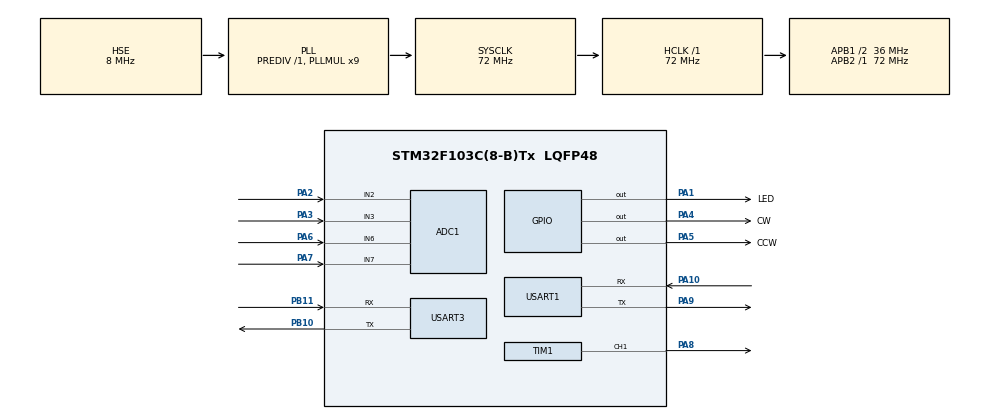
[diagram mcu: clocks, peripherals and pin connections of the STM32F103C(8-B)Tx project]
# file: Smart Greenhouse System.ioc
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ADC1.Channel-1\#ChannelRegularConversion=ADC_CHANNEL_2
ADC1.Channel-2\#ChannelRegularConversion=ADC_CHANNEL_2
ADC1.Channel-3\#ChannelRegularConversion=ADC_CHANNEL_2
ADC1.Channel-4\#ChannelRegularConversion=ADC_CHANNEL_2
ADC1.ContinuousConvMode=DISABLE
ADC1.DiscontinuousConvMode=DISABLE
ADC1.NbrOfConversion=4
ADC1.NbrOfConversionFlag=1
ADC1.Rank-1\#ChannelRegularConversion=1
ADC1.Rank-2\#ChannelRegularConversion=2
ADC1.Rank-3\#ChannelRegularConversion=3
ADC1.Rank-4\#ChannelRegularConversion=4
ADC1.SamplingTime-1\#ChannelRegularConversion=ADC_SAMPLETIME_1CYCLE_5
ADC1.SamplingTime-2\#ChannelRegularConversion=ADC_SAMPLETIME_1CYCLE_5
ADC1.SamplingTime-3\#ChannelRegularConversion=ADC_SAMPLETIME_1CYCLE_5
ADC1.SamplingTime-4\#ChannelRegularConversion=ADC_SAMPLETIME_1CYCLE_5
ADC1.master=1
Dma.ADC1.0.Direction=DMA_PERIPH_TO_MEMORY
Dma.ADC1.0.Instance=DMA1_Channel1
Dma.ADC1.0.MemDataAlignment=DMA_MDATAALIGN_HALFWORD
Dma.ADC1.0.MemInc=DMA_MINC_ENABLE
Dma.ADC1.0.Mode=DMA_NORMAL
Dma.ADC1.0.PeriphDataAlignment=DMA_PDATAALIGN_HALFWORD
Dma.ADC1.0.PeriphInc=DMA_PINC_DISABLE
Dma.ADC1.0.Priority=DMA_PRIORITY_LOW
Dma.Request0=ADC1
Dma.Request1=USART1_TX
Dma.USART1_TX.1.Direction=DMA_MEMORY_TO_PERIPH
Dma.USART1_TX.1.Instance=DMA1_Channel4
Dma.USART1_TX.1.MemDataAlignment=DMA_MDATAALIGN_BYTE
Dma.USART1_TX.1.MemInc=DMA_MINC_ENABLE
Dma.USART1_TX.1.Mode=DMA_NORMAL
Dma.USART1_TX.1.PeriphDataAlignment=DMA_PDATAALIGN_BYTE
Dma.USART1_TX.1.PeriphInc=DMA_PINC_DISABLE
Dma.USART1_TX.1.Priority=DMA_PRIORITY_LOW
FREERTOS.Mutexes01=UartMutex,Dynamic,NULL,Available
FREERTOS.Queues01=CmdQueue,16,SensorData,0,Dynamic,NULL,NULL;DataQueue,16,SensorData,0,Dynamic,NULL,NULL;UartQueue,20,uint8_t,0,Dynamic,NULL,NULL
FREERTOS.Tasks01=ReceiveTask,44,128,TASK_PRIORITY_RECEIVE,Default,NULL,Dynamic,NULL,NULL;SendTask,41,128,TASK_PRIORITY_send,Default,NULL,Dynamic,NULL,NULL;ControlTask,43,128,TASK_PRIORITY_CONTROL,Default,NULL,Dynamic,NULL,NULL;AcquisitionTask,42,128,TASK_PRIORITY_ACQUISITION,Default,NULL,Dynamic,NULL,NULL
Mcu.Family=STM32F1
Mcu.Name=STM32F103C(8-B)Tx
Mcu.Package=LQFP48
NVIC.DMA1_Channel1_IRQn=true\:5\:0\:false\:false\:true\:true\:false\:true\:true
NVIC.DMA1_Channel4_IRQn=true\:5\:0\:false\:false\:true\:true\:false\:true\:true
NVIC.PriorityGroup=NVIC_PRIORITYGROUP_4
NVIC.TIM4_IRQn=true\:15\:0\:false\:false\:true\:false\:false\:true\:true
NVIC.TimeBase=TIM4_IRQn
NVIC.TimeBaseIP=TIM4
NVIC.USART1_IRQn=true\:5\:0\:false\:false\:true\:true\:true\:true\:true
NVIC.USART3_IRQn=true\:5\:0\:false\:false\:true\:true\:true\:true\:true
PA1.GPIO_Label=LED
PA1.GPIO_Speed=GPIO_SPEED_FREQ_HIGH
PA1.PinState=GPIO_PIN_SET
PA1.Signal=GPIO_Output
PA10.Mode=Asynchronous
PA10.Signal=USART1_RX
PA13.Mode=Serial_Wire
PA13.Signal=SYS_JTMS-SWDIO
PA14.Mode=Serial_Wire
PA14.Signal=SYS_JTCK-SWCLK
PA2.Signal=ADCx_IN2
PA3.Signal=ADCx_IN3
PA4.GPIO_Label=CW
PA4.GPIO_Speed=GPIO_SPEED_FREQ_HIGH
PA4.Signal=GPIO_Output
PA5.GPIO_Label=CCW
PA5.GPIO_Speed=GPIO_SPEED_FREQ_HIGH
PA5.Signal=GPIO_Output
PA6.Signal=ADCx_IN6
PA7.Signal=ADCx_IN7
PA8.Signal=S_TIM1_CH1
PA9.Mode=Asynchronous
PA9.Signal=USART1_TX
PB10.Mode=Asynchronous
PB10.Signal=USART3_TX
PB11.Mode=Asynchronous
PB11.Signal=USART3_RX
PD0-OSC_IN.Mode=HSE-External-Oscillator
PD0-OSC_IN.Signal=RCC_OSC_IN
PD1-OSC_OUT.Mode=HSE-External-Oscillator
PD1-OSC_OUT.Signal=RCC_OSC_OUT
ProjectManager.HeapSize=0x200
ProjectManager.StackSize=0x400
ProjectManager.TargetToolchain=MDK-ARM V5.32
RCC.ADCPresc=RCC_ADCPCLK2_DIV6
RCC.AHBFreq_Value=72000000
RCC.APB1CLKDivider=RCC_HCLK_DIV2
RCC.APB1Freq_Value=36000000
RCC.APB1TimFreq_Value=72000000
RCC.APB2Freq_Value=72000000
RCC.APB2TimFreq_Value=72000000
RCC.HCLKFreq_Value=72000000
RCC.PLLMUL=RCC_PLL_MUL9
RCC.PLLSourceVirtual=RCC_PLLSOURCE_HSE
RCC.SYSCLKFreq_VALUE=72000000
RCC.SYSCLKSource=RCC_SYSCLKSOURCE_PLLCLK
RCC.USBFreq_Value=72000000
SH.ADCx_IN2.0=ADC1_IN2,IN2
SH.ADCx_IN3.0=ADC1_IN3,IN3
SH.ADCx_IN6.0=ADC1_IN6,IN6
SH.ADCx_IN7.0=ADC1_IN7,IN7
SH.S_TIM1_CH1.0=TIM1_CH1,PWM Generation1 CH1
TIM1.Channel-PWM\ Generation1\ CH1=TIM_CHANNEL_1
TIM1.Period=100-1
TIM1.Prescaler=71
USART1.VirtualMode=VM_ASYNC
USART3.VirtualMode=VM_ASYNC
VP_FREERTOS_VS_CMSIS_V2.Mode=CMSIS_V2
VP_SYS_VS_tim4.Mode=TIM4
VP_TIM1_VS_ClockSourceINT.Mode=Internal
board=custom

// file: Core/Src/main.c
/* USER CODE BEGIN Header */
/**
  ******************************************************************************
  * @file           : main.c
  * @brief          : Main program body
  ******************************************************************************
  * @attention
  *
  * Copyright (c) 2026 STMicroelectronics.
  * All rights reserved.
  *
  * This software is licensed under terms that can be found in the LICENSE file
  * in the root directory of this software component.
  * If no LICENSE file comes with this software, it is provided AS-IS.
  *
  ******************************************************************************
  */
/* USER CODE END Header */
#include "main.h"
#include "cmsis_os.h"
#include "adc.h"
#include "dma.h"
#include "tim.h"
#include "usart.h"
#include "gpio.h"

void SystemClock_Config(void);
void MX_FREERTOS_Init(void);

int main(void)
{

  /* MCU Configuration--------------------------------------------------------*/

  /* Reset of all peripherals, Initializes the Flash interface and the Systick. */
  HAL_Init();

  /* Configure the system clock */
  SystemClock_Config();

  /* Initialize all configured peripherals */
  MX_GPIO_Init();
  MX_DMA_Init();
  MX_USART1_UART_Init();
  MX_ADC1_Init();
  MX_USART3_UART_Init();
  MX_TIM1_Init();
  /* USER CODE BEGIN 2 */
	HAL_ADCEx_Calibration_Start(&hadc1);
	HAL_TIM_PWM_Start(&htim1,TIM_CHANNEL_1);

  /* USER CODE END 2 */

  /* Init scheduler */
  osKernelInitialize();

  /* Call init function for freertos objects (in cmsis_os2.c) */
  MX_FREERTOS_Init();

  /* Start scheduler */
  osKernelStart();

  /* We should never get here as control is now taken by the scheduler */

  /* Infinite loop */
  while (1)
  {

  }
}

void SystemClock_Config(void)
{
  RCC_OscInitTypeDef RCC_OscInitStruct = {0};
  RCC_ClkInitTypeDef RCC_ClkInitStruct = {0};
  RCC_PeriphCLKInitTypeDef PeriphClkInit = {0};

  /** Initializes the RCC Oscillators according to the specified parameters
  * in the RCC_OscInitTypeDef structure.
  */
  RCC_OscInitStruct.OscillatorType = RCC_OSCILLATORTYPE_HSE;
  RCC_OscInitStruct.HSEState = RCC_HSE_ON;
  RCC_OscInitStruct.HSEPredivValue = RCC_HSE_PREDIV_DIV1;
  RCC_OscInitStruct.HSIState = RCC_HSI_ON;
  RCC_OscInitStruct.PLL.PLLState = RCC_PLL_ON;
  RCC_OscInitStruct.PLL.PLLSource = RCC_PLLSOURCE_HSE;
  RCC_OscInitStruct.PLL.PLLMUL = RCC_PLL_MUL9;
  if (HAL_RCC_OscConfig(&RCC_OscInitStruct) != HAL_OK)
  {
    Error_Handler();
  }

  /** Initializes the CPU, AHB and APB buses clocks
  */
  RCC_ClkInitStruct.ClockType = RCC_CLOCKTYPE_HCLK|RCC_CLOCKTYPE_SYSCLK
                              |RCC_CLOCKTYPE_PCLK1|RCC_CLOCKTYPE_PCLK2;
  RCC_ClkInitStruct.SYSCLKSource = RCC_SYSCLKSOURCE_PLLCLK;
  RCC_ClkInitStruct.AHBCLKDivider = RCC_SYSCLK_DIV1;
  RCC_ClkInitStruct.APB1CLKDivider = RCC_HCLK_DIV2;
  RCC_ClkInitStruct.APB2CLKDivider = RCC_HCLK_DIV1;

  if (HAL_RCC_ClockConfig(&RCC_ClkInitStruct, FLASH_LATENCY_2) != HAL_OK)
  {
    Error_Handler();
  }
  PeriphClkInit.PeriphClockSelection = RCC_PERIPHCLK_ADC;
  PeriphClkInit.AdcClockSelection = RCC_ADCPCLK2_DIV6;
  if (HAL_RCCEx_PeriphCLKConfig(&PeriphClkInit) != HAL_OK)
  {
    Error_Handler();
  }
}

void HAL_TIM_PeriodElapsedCallback(TIM_HandleTypeDef *htim)
{
  if (htim->Instance == TIM4)
  {
    HAL_IncTick();
  }
}

void Error_Handler(void)
{
  __disable_irq();
  while (1)
  {
  }
}

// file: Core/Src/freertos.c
/* USER CODE BEGIN Header */
/**
  ******************************************************************************
  * File Name          : freertos.c
  * Description        : Code for freertos applications
  ******************************************************************************
  * @attention
  *
  * Copyright (c) 2026 STMicroelectronics.
  * All rights reserved.
  *
  * This software is licensed under terms that can be found in the LICENSE file
  * in the root directory of this software component.
  * If no LICENSE file comes with this software, it is provided AS-IS.
  *
  ******************************************************************************
  */
/* USER CODE END Header */

#include "FreeRTOS.h"
#include "task.h"
#include "main.h"
#include "cmsis_os.h"

/* USER CODE BEGIN Includes */
#include "data.h"
#include "queue.h"
#include "usart.h"
#include <stdio.h>
/* USER CODE END Includes */

/* USER CODE BEGIN PM */
uint8_t rx_byte;
/* USER CODE END PM */

/* Definitions for ReceiveTask */
osThreadId_t ReceiveTaskHandle;
const osThreadAttr_t ReceiveTask_attributes = {
  .name = "ReceiveTask",
  .stack_size = 128 * 4,
  .priority = (osPriority_t) osPriorityHigh4,
};
/* Definitions for SendTask */
osThreadId_t SendTaskHandle;
const osThreadAttr_t SendTask_attributes = {
  .name = "SendTask",
  .stack_size = 128 * 4,
  .priority = (osPriority_t) osPriorityHigh1,
};
/* Definitions for ControlTask */
osThreadId_t ControlTaskHandle;
const osThreadAttr_t ControlTask_attributes = {
  .name = "ControlTask",
  .stack_size = 128 * 4,
  .priority = (osPriority_t) osPriorityHigh3,
};
/* Definitions for AcquisitionTask */
osThreadId_t AcquisitionTaskHandle;
const osThreadAttr_t AcquisitionTask_attributes = {
  .name = "AcquisitionTask",
  .stack_size = 128 * 4,
  .priority = (osPriority_t) osPriorityHigh2,
};
/* Definitions for CmdQueue */
osMessageQueueId_t CmdQueueHandle;
const osMessageQueueAttr_t CmdQueue_attributes = {
  .name = "CmdQueue"
};
/* Definitions for DataQueue */
osMessageQueueId_t DataQueueHandle;
const osMessageQueueAttr_t DataQueue_attributes = {
  .name = "DataQueue"
};
/* Definitions for UartQueue */
osMessageQueueId_t UartQueueHandle;
const osMessageQueueAttr_t UartQueue_attributes = {
  .name = "UartQueue"
};
/* Definitions for UartMutex */
osMutexId_t UartMutexHandle;
const osMutexAttr_t UartMutex_attributes = {
  .name = "UartMutex"
};

void TASK_PRIORITY_RECEIVE(void *argument);
void TASK_PRIORITY_send(void *argument);
void TASK_PRIORITY_CONTROL(void *argument);
void TASK_PRIORITY_ACQUISITION(void *argument);

void MX_FREERTOS_Init(void); /* (MISRA C 2004 rule 8.1) */

void MX_FREERTOS_Init(void) {
  /* Create the mutex(es) */
  /* creation of UartMutex */
  UartMutexHandle = osMutexNew(&UartMutex_attributes);

  /* Create the queue(s) */
  /* creation of CmdQueue */
  CmdQueueHandle = osMessageQueueNew (16, sizeof(SensorData), &CmdQueue_attributes);

  /* creation of DataQueue */
  DataQueueHandle = osMessageQueueNew (16, sizeof(SensorData), &DataQueue_attributes);

  /* creation of UartQueue */
  UartQueueHandle = osMessageQueueNew (20, sizeof(uint8_t), &UartQueue_attributes);

  /* Create the thread(s) */
  /* creation of ReceiveTask */
  ReceiveTaskHandle = osThreadNew(TASK_PRIORITY_RECEIVE, NULL, &ReceiveTask_attributes);

  /* creation of SendTask */
  SendTaskHandle = osThreadNew(TASK_PRIORITY_send, NULL, &SendTask_attributes);

  /* creation of ControlTask */
  ControlTaskHandle = osThreadNew(TASK_PRIORITY_CONTROL, NULL, &ControlTask_attributes);

  /* creation of AcquisitionTask */
  AcquisitionTaskHandle = osThreadNew(TASK_PRIORITY_ACQUISITION, NULL, &AcquisitionTask_attributes);

	HAL_UART_Receive_IT(&huart1, &rx_byte, 1);

}

void TASK_PRIORITY_RECEIVE(void *argument)
{
  /* USER CODE BEGIN TASK_PRIORITY_RECEIVE */
		uint8_t rxByte;
    uint8_t buffer[64];
    uint8_t index = 0;
  /* Infinite loop */
  for(;;)
  {
		if(xQueueReceive(UartQueueHandle, &rxByte, portMAX_DELAY) == pdPASS) {
            buffer[index++] = rxByte;

            if(rxByte == '\n' || index >= sizeof(buffer)-1) {
                buffer[index] = '\0';

                ControlCmd cmd;
                if(ParseCommand(buffer, &cmd)) {
                    xQueueSend(CmdQueueHandle, &cmd, 0);
                }
                index = 0;
            }
        }

  }
  /* USER CODE END TASK_PRIORITY_RECEIVE */
}

void TASK_PRIORITY_send(void *argument)
{
  /* USER CODE BEGIN TASK_PRIORITY_send */
	SensorData data;
	static char txbuffer[128];
  /* Infinite loop */
  for(;;)
  {
		 if(xQueueReceive(DataQueueHandle, &data, portMAX_DELAY) == pdPASS)
        {
            int len = snprintf(txbuffer, sizeof(txbuffer),
                "AA,%02X,%02X,%02X,%02X,%04X\n",
                data.led, data.motor, data.temp,
                data.humi, data.lightsensor);

            osMutexAcquire(UartMutexHandle, osWaitForever);
            HAL_UART_Transmit_DMA(&huart1, (uint8_t*)txbuffer, len);
						//HAL_UART_Transmit(&huart1, (uint8_t*)txbuffer, len,1000);
            osMutexRelease(UartMutexHandle);
        }
    osDelay(20);
  }
  /* USER CODE END TASK_PRIORITY_send */
}

void TASK_PRIORITY_CONTROL(void *argument)
{
  /* USER CODE BEGIN TASK_PRIORITY_CONTROL */
	ControlCmd cmd;

  /* Infinite loop */
  for(;;)
  {
		 if(xQueueReceive(CmdQueueHandle, &cmd, portMAX_DELAY) == pdPASS) {
            switch(cmd.flag) {
                case MOTORC:
                    Control_Motor(cmd.data);
                    break;

                case LEDC:
                     Control_Light(cmd.data);
                    break;
            }
        }

  }
  /* USER CODE END TASK_PRIORITY_CONTROL */
}

void TASK_PRIORITY_ACQUISITION(void *argument)
{
  /* USER CODE BEGIN TASK_PRIORITY_ACQUISITION */
	SensorData sensorData;
	uint16_t* sensor;
  /* Infinite loop */
  for(;;)
  {

				sensor = Read_Sensor();
        sensorData.led = Read_Light();
				sensorData.motor = Read_Motor();
				sensorData.temp = 0;
				sensorData.humi = 0;
				sensorData.lightsensor = sensor[0];

        xQueueSend(DataQueueHandle, &sensorData, 0);
    osDelay(50);
  }
  /* USER CODE END TASK_PRIORITY_ACQUISITION */
}

/* USER CODE BEGIN Application */

void HAL_UART_RxCpltCallback(UART_HandleTypeDef *huart)
{
	// 将接收到的字节发送到队列
        xQueueSendFromISR(UartQueueHandle, &rx_byte, NULL);

        // 重新启动接收（中断方式必须重新启动！）
        HAL_UART_Receive_IT(&huart1, &rx_byte, 1);
}
/* USER CODE END Application */
